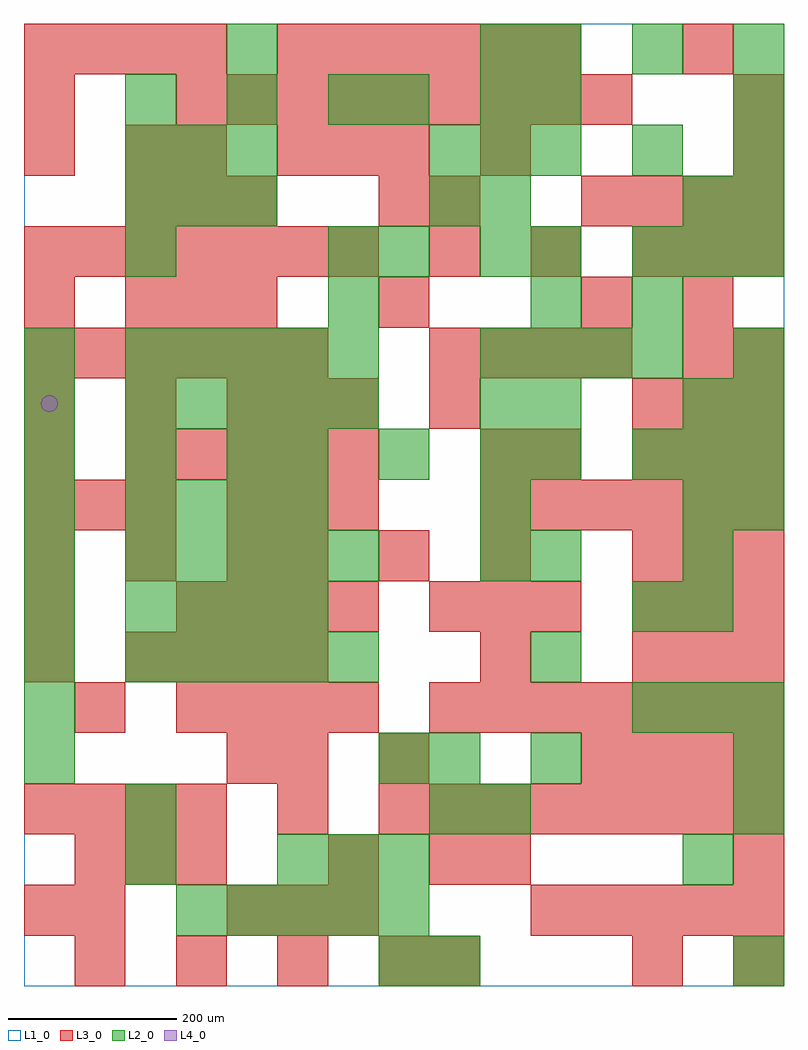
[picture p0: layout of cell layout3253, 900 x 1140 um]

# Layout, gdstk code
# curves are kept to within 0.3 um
import gdstk
lib = gdstk.Library(unit=1e-6, precision=1e-09)
def R(c, l, rs):  # rectangles x0, y0, x1, y1
    for r in rs: c.add(gdstk.rectangle(r[:2], r[2:], *l))
def A(c, l, x, y, w, h, nx, ny, dx, dy):  # array of equal rectangles
    R(c, l, [(x+i*dx, y+j*dy, x+i*dx+w, y+j*dy+h) for i in range(nx) for j in range(ny)])
def P(c, l, *ps):  # polygons
    for p in ps: c.add(gdstk.Polygon(p, *l))
L1_0 = (1, 0)
L2_0 = (2, 0)
L3_0 = (3, 0)
L4_0 = (4, 0)

layout3253 = lib.new_cell('layout3253')
R(layout3253, L1_0, [(0,0,900,1140)])
A(layout3253, L2_0, 180, 60, 60, 60, 5, 1, 60, 0)
A(layout3253, L2_0, 300, 120, 60, 60, 3, 1, 60, 0)
A(layout3253, L2_0, 0, 240, 60, 60, 1, 6, 0, 60)
A(layout3253, L2_0, 600, 240, 60, 60, 1, 4, 0, 120)
A(layout3253, L2_0, 720, 300, 60, 60, 3, 2, 60, 300)
A(layout3253, L2_0, 120, 360, 60, 60, 5, 2, 60, 120)
A(layout3253, L2_0, 120, 420, 60, 60, 4, 2, 60, 120)
A(layout3253, L2_0, 780, 420, 60, 60, 1, 3, 0, 60)
A(layout3253, L2_0, 0, 600, 60, 60, 3, 1, 120, 0)
A(layout3253, L2_0, 300, 600, 60, 60, 3, 1, 120, 0)
A(layout3253, L2_0, 120, 660, 60, 60, 5, 2, 60, 60)
A(layout3253, L2_0, 540, 720, 60, 60, 4, 1, 60, 0)
A(layout3253, L2_0, 720, 840, 60, 60, 3, 1, 60, 0)
A(layout3253, L2_0, 120, 900, 60, 60, 3, 2, 60, 60)
A(layout3253, L2_0, 840, 900, 60, 60, 1, 3, 0, 60)
A(layout3253, L2_0, 480, 960, 60, 60, 3, 1, 60, 0)
A(layout3253, L2_0, 120, 1020, 60, 60, 3, 1, 120, 0)
A(layout3253, L2_0, 600, 1080, 60, 60, 3, 1, 120, 0)
R(layout3253, L2_0, [(420,0,480,60), (480,0,540,60), (840,0,900,60), (120,120,180,180), (780,120,840,180), (120,180,180,240), (480,180,540,240), (540,180,600,240), (840,180,900,240), (420,240,480,300), (480,240,540,300), (840,240,900,300), (720,420,780,480), (540,480,600,540), (540,540,600,600), (840,540,900,600), (0,660,60,720), (540,660,600,720), (600,660,660,720), (780,660,840,720), (840,660,900,720), (0,720,60,780), (840,720,900,780), (360,780,420,840), (600,780,660,840), (720,780,780,840), (120,840,180,900), (360,840,420,900), (420,840,480,900), (540,840,600,900), (600,840,660,900), (480,900,540,960), (540,900,600,960), (780,900,840,960), (720,960,780,1020), (420,1020,480,1080), (540,1020,600,1080), (600,1020,660,1080), (240,1080,300,1140), (540,1080,600,1140)])
A(layout3253, L3_0, 60, 0, 60, 60, 4, 1, 120, 0)
A(layout3253, L3_0, 240, 60, 60, 60, 3, 2, 60, 480)
A(layout3253, L3_0, 600, 60, 60, 60, 5, 1, 60, 0)
A(layout3253, L3_0, 60, 120, 60, 60, 3, 1, 60, 0)
A(layout3253, L3_0, 540, 120, 60, 60, 1, 3, 0, 240)
A(layout3253, L3_0, 0, 180, 60, 60, 4, 2, 60, 900)
A(layout3253, L3_0, 420, 180, 60, 60, 8, 1, 60, 0)
A(layout3253, L3_0, 660, 240, 60, 60, 4, 2, 60, 660)
A(layout3253, L3_0, 180, 300, 60, 60, 4, 2, 60, 120)
A(layout3253, L3_0, 480, 300, 60, 60, 7, 1, 60, 0)
A(layout3253, L3_0, 120, 360, 60, 60, 4, 1, 60, 0)
A(layout3253, L3_0, 720, 360, 60, 60, 3, 3, 60, 60)
A(layout3253, L3_0, 0, 420, 60, 60, 1, 4, 0, 180)
A(layout3253, L3_0, 480, 420, 60, 60, 3, 1, 60, 0)
A(layout3253, L3_0, 0, 480, 60, 60, 3, 2, 120, 180)
A(layout3253, L3_0, 300, 480, 60, 60, 3, 1, 120, 0)
A(layout3253, L3_0, 0, 540, 60, 60, 3, 1, 60, 0)
A(layout3253, L3_0, 540, 540, 60, 60, 6, 1, 60, 0)
A(layout3253, L3_0, 120, 600, 60, 60, 5, 1, 60, 0)
A(layout3253, L3_0, 720, 600, 60, 60, 3, 2, 60, 60)
A(layout3253, L3_0, 0, 720, 60, 60, 6, 1, 60, 0)
A(layout3253, L3_0, 480, 720, 60, 60, 4, 1, 60, 0)
A(layout3253, L3_0, 780, 720, 60, 60, 1, 3, 0, 60)
A(layout3253, L3_0, 840, 720, 60, 60, 1, 3, 0, 120)
A(layout3253, L3_0, 120, 780, 60, 60, 3, 2, 60, 120)
A(layout3253, L3_0, 0, 840, 60, 60, 7, 1, 60, 0)
A(layout3253, L3_0, 480, 840, 60, 60, 3, 1, 120, 0)
A(layout3253, L3_0, 300, 960, 60, 60, 3, 1, 60, 0)
A(layout3253, L3_0, 180, 1020, 60, 60, 9, 1, 60, 0)
A(layout3253, L3_0, 300, 1080, 60, 60, 6, 1, 60, 0)
R(layout3253, L3_0, [(480,0,540,60), (720,0,780,60), (840,0,900,60), (0,60,60,120), (60,60,120,120), (360,120,420,180), (480,120,540,180), (840,120,900,180), (300,180,360,240), (240,240,300,300), (300,240,360,300), (420,240,480,300), (60,300,120,360), (0,360,60,420), (600,600,660,660), (300,660,360,720), (360,660,420,720), (480,660,540,720), (420,780,480,840), (660,780,720,840), (420,900,480,960), (480,900,540,960), (120,960,180,1020), (180,960,240,1020), (540,960,600,1020), (0,1020,60,1080), (840,1020,900,1080), (780,1080,840,1140)])
P(layout3253, L4_0, [(40,690),(39.239,693.827),(37.071,697.071),(33.827,699.239),(30,700),(26.173,699.239),(22.929,697.071),(20.761,693.827),(20,690),(20.761,686.173),(22.929,682.929),(26.173,680.761),(30,680),(33.827,680.761),(37.071,682.929),(39.239,686.173)])

lib.write_gds('layout3253.gds')
